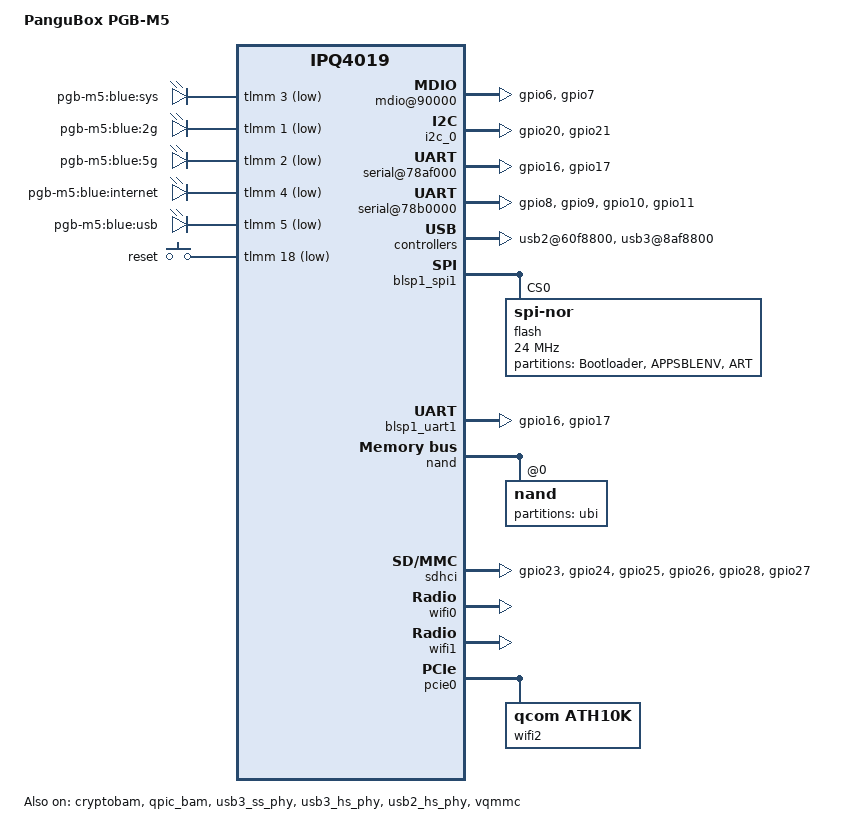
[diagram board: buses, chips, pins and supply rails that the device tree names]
// SPDX-License-Identifier: GPL-2.0-or-later OR MIT

#include "qcom-ipq4019.dtsi"
#include <dt-bindings/gpio/gpio.h>
#include <dt-bindings/input/input.h>
#include <dt-bindings/soc/qcom,tcsr.h>

/ {
	model = "PanguBox PGB-M5";
	compatible = "pangubox,pgb-m5";

	aliases {
		led-boot = &led_sys;
		led-failsafe = &led_sys;
		led-running = &led_sys;
		led-upgrade = &led_sys;
	};

	soc {
		rng@22000 {
			status = "okay";
		};

		mdio@90000 {
			status = "okay";
			pinctrl-0 = <&mdio_pins>;
			pinctrl-names = "default";
		};

		ess-psgmii@98000 {
			status = "okay";
		};

		tcsr@1949000 {
			compatible = "qcom,tcsr";
			reg = <0x1949000 0x100>;
			qcom,wifi_glb_cfg = <TCSR_WIFI_GLB_CFG>;
		};

		tcsr@194b000 {
			compatible = "qcom,tcsr";
			reg = <0x194b000 0x100>;
			qcom,usb-hsphy-mode-select = <TCSR_USB_HSPHY_HOST_MODE>;
		};

		ess_tcsr@1953000 {
			compatible = "qcom,tcsr";
			reg = <0x1953000 0x1000>;
			qcom,ess-interface-select = <TCSR_ESS_PSGMII>;
		};

		tcsr@1957000 {
			compatible = "qcom,tcsr";
			reg = <0x1957000 0x100>;
			qcom,wifi_noc_memtype_m0_m2 = <TCSR_WIFI_NOC_MEMTYPE_M0_M2>;
		};
		tcsr@1957000 {
			compatible = "qcom,tcsr";
			reg = <0x1957000 0x100>;
			qcom,wifi_noc_memtype_m0_m2 = <TCSR_WIFI_NOC_MEMTYPE_M0_M2>;
		};

		i2c_0: i2c@78b7000 {
			pinctrl-0 = <&i2c_0_pins>;
			pinctrl-names = "default";
			status = "okay";
		};

		serial@78af000 {
			pinctrl-0 = <&serial_0_pins>;
			pinctrl-names = "default";
			status = "okay";
		};

		serial@78b0000 {
			pinctrl-0 = <&serial_1_pins>;
			pinctrl-names = "default";
			status = "okay";
		};

		usb2@60f8800 {
			status = "okay";

			dwc3@6000000 {
				#address-cells = <1>;
				#size-cells = <0>;

				usb2_port1: port@1 {
					reg = <1>;
					#trigger-source-cells = <0>;
				};
			};
		};

		usb3@8af8800 {
			status = "okay";

			dwc3@8a00000 {
				#address-cells = <1>;
				#size-cells = <0>;

				usb3_port1: port@1 {
					reg = <1>;
					#trigger-source-cells = <0>;
				};

				usb3_port2: port@2 {
					reg = <2>;
					#trigger-source-cells = <0>;
				};
			};
		};

		crypto@8e3a000 {
			status = "okay";
		};

		watchdog@b017000 {
			status = "okay";
		};

		ess-switch@c000000 {
			status = "okay";
		};

		edma@c080000 {
			status = "okay";
		};
	};

	gpio-leds {
		compatible = "gpio-leds";
		pinctrl-0 = <&led_pins>;
		pinctrl-names = "default";

		led_sys:sys {
			label = "pgb-m5:blue:sys";
			gpios = <&tlmm 3 GPIO_ACTIVE_LOW>;
		};

		wlan2g {
			label = "pgb-m5:blue:2g";
			gpios = <&tlmm 1 GPIO_ACTIVE_LOW>;
			linux,default-trigger = "phy0tpt";
		};

		wlan5g {
			label = "pgb-m5:blue:5g";
			gpios = <&tlmm 2 GPIO_ACTIVE_LOW>;
			linux,default-trigger = "phy1tpt";
		};

		internet {
			label = "pgb-m5:blue:internet";
			gpios = <&tlmm 4 GPIO_ACTIVE_LOW>;
		};

		usb {
			label = "pgb-m5:blue:usb";
			gpios = <&tlmm 5 GPIO_ACTIVE_LOW>;
			trigger-sources = <&usb3_port1>, <&usb3_port2>,
					  <&usb2_port1>;
			linux,default-trigger = "usbport";
		};
	};

	keys {
		compatible = "gpio-keys";

		reset {
			label = "reset";
			gpios = <&tlmm 18 GPIO_ACTIVE_LOW>;
			linux,code = <KEY_RESTART>;
		};
	};
};

&blsp_dma {
	status = "okay";
};

&blsp1_spi1 {
	status = "okay";

	flash@0 {
		reg = <0>;
		compatible = "jedec,spi-nor";
		spi-max-frequency = <24000000>;

		partitions {
			compatible = "fixed-partitions";
			#address-cells = <1>;
			#size-cells = <1>;

			partition@0 {
				label = "Bootloader";
				reg = <0x0 0x170000>;
			};

			partition@e0000 {
				label = "APPSBLENV";
				reg = <0xe0000 0x10000>;
			};

			art:partition@170000 {
				label = "ART";
				reg = <0x170000 0x10000>;
				read-only;
			};
		};
	};
};

&blsp1_uart1 {
	pinctrl-0 = <&serial_0_pins>;
	pinctrl-names = "default";
	status = "okay";
};

&cryptobam {
	status = "okay";
};

&gmac0 {
	mtd-mac-address = <&art 0x0>;
};

&gmac1 {
	mtd-mac-address = <&art 0x6>;
};

&nand {
	status = "okay";

	nand@0 {
		partitions {
			compatible = "fixed-partitions";
			#address-cells = <1>;
			#size-cells = <1>;

			ubi_part: partition@1 {
				label = "ubi";
				reg = <0x0 0x8000000>;
			};
		};
	};
};

&qpic_bam {
	status = "okay";
};

&sdhci {
	pinctrl-0 = <&sd_0_pins>;
	pinctrl-names = "default";
	vqmmc-supply = <&vqmmc>;
	status = "okay";
};

&tlmm {
	mdio_pins: mdio_pinmux {
		mux_1 {
			pins = "gpio6";
			function = "mdio";
			bias-pull-up;
		};

		mux_2 {
			pins = "gpio7";
			function = "mdc";
			bias-pull-up;
		};
	};

	sd_0_pins: sd_0_pinmux {
		mux_1 {
			pins = "gpio23", "gpio24", "gpio25", "gpio26", "gpio28";
			function = "sdio";
			drive-strength = <10>;
		};

		mux_2 {
			pins = "gpio27";
			function = "sdio";
			drive-strength = <16>;
		};
	};

	serial_0_pins: serial0-pinmux {
		mux {
			pins = "gpio16", "gpio17";
			function = "blsp_uart0";
			bias-disable;
		};
	};

	serial_1_pins: serial1_pinmux {
		mux {
			pins = "gpio8", "gpio9", "gpio10", "gpio11";
			function = "blsp_uart1";
			bias-disable;
		};
	};

	i2c_0_pins: i2c_0_pinmux {
		mux {
			pins = "gpio20", "gpio21";
			function = "blsp_i2c0";
			bias-disable;
		};
	};

	led_pins: led_pinmux {
		mux {
			pins = "gpio1", "gpio2", "gpio3", "gpio4","gpio5";
			function = "gpio";
			bias-pull-up;
		};
	};

	btn_pins: btn_pinmux {
		mux {
			pins = "gpio0", "gpio18";
			function = "gpio";
			bias-pull-up;
		};
	};
};

&usb3_ss_phy {
	status = "okay";
};

&usb3_hs_phy {
	status = "okay";
};

&usb2_hs_phy {
	status = "okay";
};

&vqmmc {
	status = "okay";
};

&wifi0 {
	status = "okay";
	qcom,ath10k-calibration-variant = "PanguBox-PGB-M5";
};

&wifi1 {
	status = "okay";
	qcom,ath10k-calibration-variant = "PanguBox-PGB-M5";
};

&pcie0 {
	status = "okay";
	perst-gpio = <&tlmm 38 GPIO_ACTIVE_LOW>;
	wake-gpio = <&tlmm 40 GPIO_ACTIVE_LOW>;
	clkreq-gpio = <&tlmm 39 GPIO_ACTIVE_LOW>;

	bridge@0,0 {
		reg = <0x00000000 0 0 0 0>;
		#address-cells = <3>;
		#size-cells = <2>;
		ranges;

		wifi2: wifi@1,0 {
			compatible = "qcom,ath10k";
			status = "okay";
			reg = <0x00010000 0 0 0 0>;
			qcom,ath10k-calibration-variant = "PanguBox-PGB-M5";
		};
	};
};
